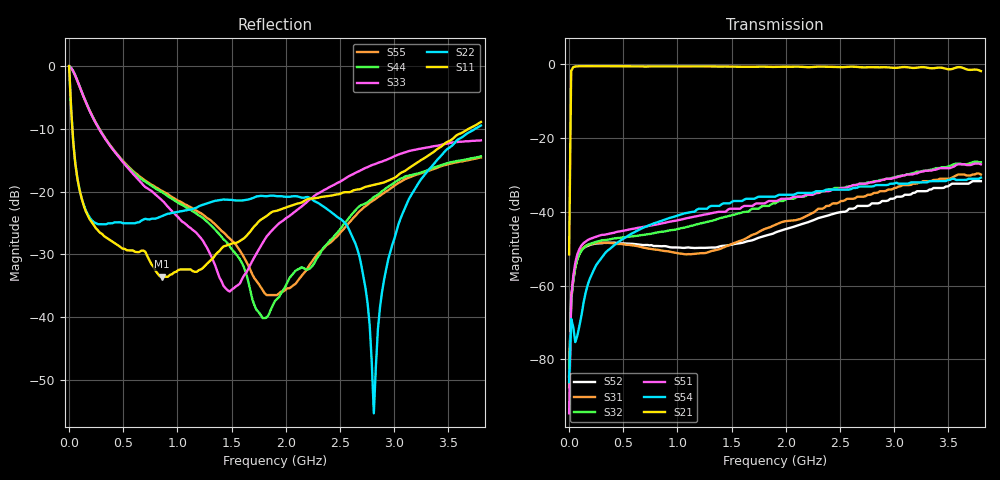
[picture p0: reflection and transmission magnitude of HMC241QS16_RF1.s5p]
! Hittite Microwave Corporation
! 20 Alpha Road
! Chelmsford, MA 01824
! Tel: 978-250-3343
! Fax: 978-250-3373
! Device: HMC241QS16, DC-3.5 GHz GaAs MMIC SP4T Non-Reflective Switch in 16 lead QSOP package
! Misc: Data was de-embedded to package pins.
!  Port 1 = RFC
!  Port 2 = RF1
!  Port 3 = RF2
!  Port 4 = RF3
!  Port 5 = RF4
!  Vdd  = + 5 V
!  RF1 selected, Vctl= 0/+5 V
!  Data reformated to new Touchstone file format - Tue Jan 09 09:58:23 2007
# MHz S DB R 50
! 5 Port Network Data
! freq  dbS11  angS11  dbS12  angS12  dbS13  angS13  dbS14  angS14
!  dbS15  angS15
!  dbS21  angS21  dbS22  angS22  dbS23  angS23
!  dbS24  angS24  dbS25  angS25
!  dbS31  angS31  dbS32  angS32
!  dbS33  angS33  dbS34  angS34  dbS35  angS35
!  dbS41  angS41
!  dbS42  angS42  dbS43  angS43  dbS44  angS44  dbS45  angS45
!  dbS51  angS51  dbS52  angS52  dbS53  angS53  dbS54  angS54
!  dbS55  angS55
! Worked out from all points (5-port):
!   201 points, 30 kHz to 3.8 GHz, reference 50 ohm
!   strongest paths, dB at 30 kHz, 950 MHz, 1.9 GHz, 2.85 GHz, 3.8 GHz:
!     S21: -51.6, -0.6, -0.7, -0.9, -1.9
!     S54: -86.2, -41.5, -35.9, -32.8, -30.8
!     S51: -94.6, -42.6, -37.1, -31.7, -27.1
!     S32: -84.4, -45.0, -37.7, -31.6, -26.6
!     S31: -87.6, -51.0, -43.6, -34.8, -29.9
!     S52: -84.7, -49.7, -45.7, -37.7, -31.7
!   lowest |S11| = -33.6 dB at 855 MHz (marker M1), VSWR 1.04, Z = 52.1 - j0.0119 ohm
!   |S11| at or under -10 dB: 30.27 MHz to 3.686 GHz (3.656 GHz wide, 197 % of centre)
